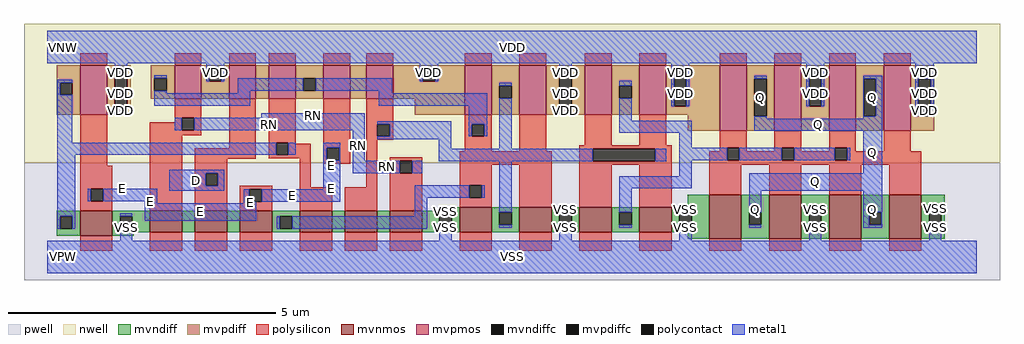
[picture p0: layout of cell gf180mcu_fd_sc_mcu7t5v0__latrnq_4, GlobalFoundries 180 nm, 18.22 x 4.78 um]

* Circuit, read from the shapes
.subckt gf180mcu_fd_sc_mcu7t5v0__latrnq_4 D E RN Q VDD VNW VPW VSS
XM1 VSS E n1 VPW nfet_06v0 w=0.465u l=0.6u
XM2 n2 RN VSS VPW nfet_06v0 w=0.395u l=0.6u
XM3 n3 D n2 VPW nfet_06v0 w=0.395u l=0.6u
XM4 n4 E n3 VPW nfet_06v0 w=0.395u l=0.6u
XM5 n5 n1 n4 VPW nfet_06v0 w=0.395u l=0.6u
XM6 n6 n7 n5 VPW nfet_06v0 w=0.395u l=0.6u
XM7 VSS RN n6 VPW nfet_06v0 w=0.395u l=0.6u
XM8 n7 n4 VSS VPW nfet_06v0 w=0.465u l=0.6u m=2
XM9 n8 n7 VSS VPW nfet_06v0 w=0.465u l=0.6u m=2
XM10 Q n8 VSS VPW nfet_06v0 w=0.82u l=0.6u m=4
XM11 VDD E n1 VNW pfet_06v0 w=0.925u l=0.5u
XM12 VDD RN n4 VNW pfet_06v0 w=0.63u l=0.5u
XM13 n9 D VDD VNW pfet_06v0 w=0.63u l=0.5u
XM14 n4 n1 n9 VNW pfet_06v0 w=0.63u l=0.5u
XM15 n10 E n4 VNW pfet_06v0 w=0.63u l=0.5u
XM16 VDD n7 n10 VNW pfet_06v0 w=0.63u l=0.5u
XM17 n7 n4 VDD VNW pfet_06v0 w=0.925u l=0.5u m=2
XM18 n8 n7 VDD VNW pfet_06v0 w=0.925u l=0.5u m=2
XM19 Q n8 VDD VNW pfet_06v0 w=1.22u l=0.5u m=4
.ends

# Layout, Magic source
magic
tech gf180mcuD
magscale 1 10
<< nwell >>
rect -86 352 3558 870
<< pwell >>
rect -86 -86 3558 352
<< mvnmos >>
rect 124 79 244 172
rect 384 93 504 172
rect 552 93 672 172
rect 720 93 840 172
rect 944 93 1064 172
rect 1112 93 1232 172
rect 1280 93 1400 172
rect 1540 93 1660 186
rect 1764 93 1884 186
rect 1988 93 2108 186
rect 2212 93 2332 186
rect 2472 68 2592 232
rect 2696 68 2816 232
rect 2920 68 3040 232
rect 3144 68 3264 232
<< mvpmos >>
rect 124 531 224 716
rect 476 590 576 716
rect 680 590 780 716
rect 828 590 928 716
rect 1032 590 1132 716
rect 1192 590 1292 716
rect 1560 531 1660 716
rect 1764 531 1864 716
rect 2008 531 2108 716
rect 2212 531 2312 716
rect 2512 472 2612 716
rect 2716 472 2816 716
rect 2920 472 3020 716
rect 3124 472 3224 716
<< mvndiff >>
rect 2392 186 2472 232
rect 1460 172 1540 186
rect 36 152 124 172
rect 36 106 49 152
rect 95 106 124 152
rect 36 79 124 106
rect 244 152 384 172
rect 244 106 273 152
rect 319 106 384 152
rect 244 93 384 106
rect 504 93 552 172
rect 672 93 720 172
rect 840 152 944 172
rect 840 106 869 152
rect 915 106 944 152
rect 840 93 944 106
rect 1064 93 1112 172
rect 1232 93 1280 172
rect 1400 158 1540 172
rect 1400 112 1465 158
rect 1511 112 1540 158
rect 1400 93 1540 112
rect 1660 167 1764 186
rect 1660 121 1689 167
rect 1735 121 1764 167
rect 1660 93 1764 121
rect 1884 167 1988 186
rect 1884 121 1913 167
rect 1959 121 1988 167
rect 1884 93 1988 121
rect 2108 167 2212 186
rect 2108 121 2137 167
rect 2183 121 2212 167
rect 2108 93 2212 121
rect 2332 167 2472 186
rect 2332 121 2361 167
rect 2407 121 2472 167
rect 2332 93 2472 121
rect 244 79 324 93
rect 2392 68 2472 93
rect 2592 167 2696 232
rect 2592 121 2621 167
rect 2667 121 2696 167
rect 2592 68 2696 121
rect 2816 167 2920 232
rect 2816 121 2845 167
rect 2891 121 2920 167
rect 2816 68 2920 121
rect 3040 167 3144 232
rect 3040 121 3069 167
rect 3115 121 3144 167
rect 3040 68 3144 121
rect 3264 167 3352 232
rect 3264 121 3293 167
rect 3339 121 3352 167
rect 3264 68 3352 121
<< mvpdiff >>
rect 36 651 124 716
rect 36 605 49 651
rect 95 605 124 651
rect 36 531 124 605
rect 224 703 312 716
rect 224 563 253 703
rect 299 563 312 703
rect 388 667 476 716
rect 388 621 401 667
rect 447 621 476 667
rect 388 590 476 621
rect 576 703 680 716
rect 576 657 605 703
rect 651 657 680 703
rect 576 590 680 657
rect 780 590 828 716
rect 928 667 1032 716
rect 928 621 957 667
rect 1003 621 1032 667
rect 928 590 1032 621
rect 1132 590 1192 716
rect 1292 703 1560 716
rect 1292 657 1403 703
rect 1449 657 1560 703
rect 1292 590 1560 657
rect 224 531 312 563
rect 1372 531 1560 590
rect 1660 639 1764 716
rect 1660 593 1689 639
rect 1735 593 1764 639
rect 1660 531 1764 593
rect 1864 703 2008 716
rect 1864 563 1913 703
rect 1959 563 2008 703
rect 1864 531 2008 563
rect 2108 639 2212 716
rect 2108 593 2137 639
rect 2183 593 2212 639
rect 2108 531 2212 593
rect 2312 703 2512 716
rect 2312 563 2341 703
rect 2387 563 2512 703
rect 2312 531 2512 563
rect 2392 472 2512 531
rect 2612 665 2716 716
rect 2612 525 2641 665
rect 2687 525 2716 665
rect 2612 472 2716 525
rect 2816 703 2920 716
rect 2816 563 2845 703
rect 2891 563 2920 703
rect 2816 472 2920 563
rect 3020 665 3124 716
rect 3020 525 3049 665
rect 3095 525 3124 665
rect 3020 472 3124 525
rect 3224 665 3312 716
rect 3224 525 3253 665
rect 3299 525 3312 665
rect 3224 472 3312 525
<< mvndiffc >>
rect 49 106 95 152
rect 273 106 319 152
rect 869 106 915 152
rect 1465 112 1511 158
rect 1689 121 1735 167
rect 1913 121 1959 167
rect 2137 121 2183 167
rect 2361 121 2407 167
rect 2621 121 2667 167
rect 2845 121 2891 167
rect 3069 121 3115 167
rect 3293 121 3339 167
<< mvpdiffc >>
rect 49 605 95 651
rect 253 563 299 703
rect 401 621 447 667
rect 605 657 651 703
rect 957 621 1003 667
rect 1403 657 1449 703
rect 1689 593 1735 639
rect 1913 563 1959 703
rect 2137 593 2183 639
rect 2341 563 2387 703
rect 2641 525 2687 665
rect 2845 563 2891 703
rect 3049 525 3095 665
rect 3253 525 3299 665
<< polysilicon >>
rect 124 716 224 760
rect 476 716 576 760
rect 680 716 780 760
rect 828 716 928 760
rect 1032 716 1132 760
rect 1192 716 1292 760
rect 1560 716 1660 760
rect 1764 716 1864 760
rect 2008 716 2108 760
rect 2212 716 2312 760
rect 2512 716 2612 760
rect 2716 716 2816 760
rect 2920 716 3020 760
rect 3124 716 3224 760
rect 124 340 224 531
rect 476 519 576 590
rect 476 504 503 519
rect 384 473 503 504
rect 549 473 576 519
rect 384 454 576 473
rect 124 255 244 340
rect 124 209 163 255
rect 209 209 244 255
rect 124 172 244 209
rect 384 172 504 454
rect 680 406 780 590
rect 552 366 780 406
rect 828 427 928 590
rect 828 381 855 427
rect 901 423 928 427
rect 901 381 984 423
rect 828 368 984 381
rect 552 312 672 366
rect 552 266 592 312
rect 638 266 672 312
rect 552 172 672 266
rect 720 253 840 266
rect 720 207 755 253
rect 801 207 840 253
rect 720 172 840 207
rect 944 260 984 368
rect 1032 408 1132 590
rect 1032 362 1045 408
rect 1091 362 1132 408
rect 1032 349 1132 362
rect 1192 496 1292 590
rect 1192 450 1233 496
rect 1279 450 1292 496
rect 1192 437 1292 450
rect 1560 496 1660 531
rect 1560 450 1586 496
rect 1632 450 1660 496
rect 1192 260 1232 437
rect 1560 394 1660 450
rect 1764 394 1864 531
rect 2008 417 2108 531
rect 2212 417 2312 531
rect 1988 404 2332 417
rect 944 172 1064 260
rect 1112 172 1232 260
rect 1280 359 1400 372
rect 1280 313 1317 359
rect 1363 313 1400 359
rect 1280 172 1400 313
rect 1540 344 1884 394
rect 1540 267 1660 344
rect 1540 221 1577 267
rect 1623 221 1660 267
rect 1540 186 1660 221
rect 1764 186 1884 344
rect 1988 358 2037 404
rect 2271 358 2332 404
rect 2512 407 2612 472
rect 2512 394 2539 407
rect 1988 344 2332 358
rect 1988 186 2108 344
rect 2212 186 2332 344
rect 2472 361 2539 394
rect 2585 394 2612 407
rect 2716 407 2816 472
rect 2716 394 2743 407
rect 2585 361 2743 394
rect 2789 394 2816 407
rect 2920 407 3020 472
rect 2920 394 2941 407
rect 2789 361 2941 394
rect 2987 394 3020 407
rect 3124 394 3224 472
rect 2987 361 3264 394
rect 2472 344 3264 361
rect 2472 232 2592 344
rect 2696 232 2816 344
rect 2920 232 3040 344
rect 3144 232 3264 344
rect 124 24 244 79
rect 384 24 504 93
rect 552 24 672 93
rect 720 24 840 93
rect 944 24 1064 93
rect 1112 24 1232 93
rect 1280 24 1400 93
rect 1540 24 1660 93
rect 1764 24 1884 93
rect 1988 24 2108 93
rect 2212 24 2332 93
rect 2472 24 2592 68
rect 2696 24 2816 68
rect 2920 24 3040 68
rect 3144 24 3264 68
<< polycontact >>
rect 503 473 549 519
rect 163 209 209 255
rect 855 381 901 427
rect 592 266 638 312
rect 755 207 801 253
rect 1045 362 1091 408
rect 1233 450 1279 496
rect 1586 450 1632 496
rect 1317 313 1363 359
rect 1577 221 1623 267
rect 2037 358 2271 404
rect 2539 361 2585 407
rect 2743 361 2789 407
rect 2941 361 2987 407
<< metal1 >>
rect 0 724 3472 844
rect 253 703 299 724
rect 38 651 95 662
rect 38 605 49 651
rect 38 427 95 605
rect 594 703 662 724
rect 401 667 447 678
rect 594 657 605 703
rect 651 657 662 703
rect 1392 703 1460 724
rect 401 611 447 621
rect 712 621 957 667
rect 1003 621 1289 667
rect 1392 657 1403 703
rect 1449 657 1460 703
rect 1913 703 1959 724
rect 712 611 758 621
rect 401 565 758 611
rect 1239 611 1289 621
rect 1689 639 1735 650
rect 1239 565 1643 611
rect 253 531 299 563
rect 800 519 1187 536
rect 476 473 503 519
rect 549 473 1187 519
rect 38 381 855 427
rect 901 381 928 427
rect 1032 408 1095 427
rect 38 152 106 381
rect 1032 362 1045 408
rect 1091 362 1095 408
rect 457 312 662 326
rect 457 266 592 312
rect 638 266 662 312
rect 152 209 163 255
rect 209 209 411 255
rect 457 248 662 266
rect 1032 253 1095 362
rect 1141 359 1187 473
rect 1233 496 1509 507
rect 1279 450 1509 496
rect 1575 496 1643 565
rect 1575 450 1586 496
rect 1632 450 1643 496
rect 1233 439 1509 450
rect 1463 404 1509 439
rect 1689 404 1735 593
rect 2330 703 2398 724
rect 1913 531 1959 563
rect 2137 639 2183 658
rect 2137 509 2183 593
rect 2330 563 2341 703
rect 2387 563 2398 703
rect 2834 703 2902 724
rect 2641 665 2687 676
rect 2834 563 2845 703
rect 2891 563 2902 703
rect 3048 665 3118 676
rect 2641 517 2687 525
rect 3048 525 3049 665
rect 3095 525 3118 665
rect 3242 665 3310 724
rect 3242 525 3253 665
rect 3299 525 3310 665
rect 3048 517 3118 525
rect 2137 463 2407 509
rect 2641 471 3118 517
rect 2361 407 2407 463
rect 1141 313 1317 359
rect 1363 313 1400 359
rect 1463 358 2037 404
rect 2271 358 2312 404
rect 2361 361 2539 407
rect 2585 361 2743 407
rect 2789 361 2941 407
rect 2987 361 2998 407
rect 365 200 411 209
rect 735 207 755 253
rect 801 207 1095 253
rect 1373 221 1577 267
rect 1623 221 1634 267
rect 735 200 781 207
rect 38 106 49 152
rect 95 106 106 152
rect 273 152 319 163
rect 365 136 781 200
rect 1373 152 1419 221
rect 858 106 869 152
rect 915 106 1419 152
rect 1465 158 1511 175
rect 273 60 319 106
rect 1465 60 1511 112
rect 1689 167 1735 358
rect 2361 302 2407 361
rect 3048 312 3118 471
rect 2137 256 2407 302
rect 1689 110 1735 121
rect 1913 167 1959 178
rect 1913 60 1959 121
rect 2137 167 2183 256
rect 2621 248 3118 312
rect 2137 110 2183 121
rect 2361 167 2407 178
rect 2361 60 2407 121
rect 2621 167 2667 248
rect 2621 110 2667 121
rect 2845 167 2891 178
rect 2845 60 2891 121
rect 3048 167 3118 248
rect 3048 121 3069 167
rect 3115 121 3118 167
rect 3048 110 3118 121
rect 3293 167 3339 186
rect 3293 60 3339 121
rect 0 -60 3472 60
<< labels >>
flabel metal1 s 3048 517 3118 676 0 FreeSans 400 0 0 0 Q
port 4 nsew default output
flabel metal1 s 800 519 1187 536 0 FreeSans 400 0 0 0 RN
port 3 nsew default input
flabel metal1 s 0 724 3472 844 0 FreeSans 400 0 0 0 VDD
port 5 nsew power bidirectional abutment
flabel metal1 s 3293 178 3339 186 0 FreeSans 400 0 0 0 VSS
port 8 nsew ground bidirectional abutment
flabel metal1 s 457 248 662 326 0 FreeSans 400 0 0 0 D
port 1 nsew default input
flabel metal1 s 1032 255 1095 427 0 FreeSans 400 0 0 0 E
port 2 nsew clock input
flabel nwell s 10 734 110 834 0 FreeSans 400 0 0 0 VNW
port 6 nsew power bidirectional
flabel pwell s 10 -50 110 50 0 FreeSans 400 0 0 0 VPW
port 7 nsew ground bidirectional
rlabel metal1 s 1032 253 1095 255 1 E
port 2 nsew clock input
rlabel metal1 s 152 253 411 255 1 E
port 2 nsew clock input
rlabel metal1 s 735 209 1095 253 1 E
port 2 nsew clock input
rlabel metal1 s 152 209 411 253 1 E
port 2 nsew clock input
rlabel metal1 s 735 207 1095 209 1 E
port 2 nsew clock input
rlabel metal1 s 365 207 411 209 1 E
port 2 nsew clock input
rlabel metal1 s 735 200 781 207 1 E
port 2 nsew clock input
rlabel metal1 s 365 200 411 207 1 E
port 2 nsew clock input
rlabel metal1 s 365 136 781 200 1 E
port 2 nsew clock input
rlabel metal1 s 476 473 1187 519 1 RN
port 3 nsew default input
rlabel metal1 s 1141 359 1187 473 1 RN
port 3 nsew default input
rlabel metal1 s 1141 313 1400 359 1 RN
port 3 nsew default input
rlabel metal1 s 2641 517 2687 676 1 Q
port 4 nsew default output
rlabel metal1 s 2641 471 3118 517 1 Q
port 4 nsew default output
rlabel metal1 s 3048 312 3118 471 1 Q
port 4 nsew default output
rlabel metal1 s 2621 248 3118 312 1 Q
port 4 nsew default output
rlabel metal1 s 3048 110 3118 248 1 Q
port 4 nsew default output
rlabel metal1 s 2621 110 2667 248 1 Q
port 4 nsew default output
rlabel metal1 s 3242 657 3310 724 1 VDD
port 5 nsew power bidirectional abutment
rlabel metal1 s 2834 657 2902 724 1 VDD
port 5 nsew power bidirectional abutment
rlabel metal1 s 2330 657 2398 724 1 VDD
port 5 nsew power bidirectional abutment
rlabel metal1 s 1913 657 1959 724 1 VDD
port 5 nsew power bidirectional abutment
rlabel metal1 s 1392 657 1460 724 1 VDD
port 5 nsew power bidirectional abutment
rlabel metal1 s 594 657 662 724 1 VDD
port 5 nsew power bidirectional abutment
rlabel metal1 s 253 657 299 724 1 VDD
port 5 nsew power bidirectional abutment
rlabel metal1 s 3242 563 3310 657 1 VDD
port 5 nsew power bidirectional abutment
rlabel metal1 s 2834 563 2902 657 1 VDD
port 5 nsew power bidirectional abutment
rlabel metal1 s 2330 563 2398 657 1 VDD
port 5 nsew power bidirectional abutment
rlabel metal1 s 1913 563 1959 657 1 VDD
port 5 nsew power bidirectional abutment
rlabel metal1 s 253 563 299 657 1 VDD
port 5 nsew power bidirectional abutment
rlabel metal1 s 3242 531 3310 563 1 VDD
port 5 nsew power bidirectional abutment
rlabel metal1 s 1913 531 1959 563 1 VDD
port 5 nsew power bidirectional abutment
rlabel metal1 s 253 531 299 563 1 VDD
port 5 nsew power bidirectional abutment
rlabel metal1 s 3242 525 3310 531 1 VDD
port 5 nsew power bidirectional abutment
rlabel metal1 s 3293 175 3339 178 1 VSS
port 8 nsew ground bidirectional abutment
rlabel metal1 s 2845 175 2891 178 1 VSS
port 8 nsew ground bidirectional abutment
rlabel metal1 s 2361 175 2407 178 1 VSS
port 8 nsew ground bidirectional abutment
rlabel metal1 s 1913 175 1959 178 1 VSS
port 8 nsew ground bidirectional abutment
rlabel metal1 s 3293 163 3339 175 1 VSS
port 8 nsew ground bidirectional abutment
rlabel metal1 s 2845 163 2891 175 1 VSS
port 8 nsew ground bidirectional abutment
rlabel metal1 s 2361 163 2407 175 1 VSS
port 8 nsew ground bidirectional abutment
rlabel metal1 s 1913 163 1959 175 1 VSS
port 8 nsew ground bidirectional abutment
rlabel metal1 s 1465 163 1511 175 1 VSS
port 8 nsew ground bidirectional abutment
rlabel metal1 s 3293 60 3339 163 1 VSS
port 8 nsew ground bidirectional abutment
rlabel metal1 s 2845 60 2891 163 1 VSS
port 8 nsew ground bidirectional abutment
rlabel metal1 s 2361 60 2407 163 1 VSS
port 8 nsew ground bidirectional abutment
rlabel metal1 s 1913 60 1959 163 1 VSS
port 8 nsew ground bidirectional abutment
rlabel metal1 s 1465 60 1511 163 1 VSS
port 8 nsew ground bidirectional abutment
rlabel metal1 s 273 60 319 163 1 VSS
port 8 nsew ground bidirectional abutment
rlabel metal1 s 0 -60 3472 60 1 VSS
port 8 nsew ground bidirectional abutment
<< properties >>
string FIXED_BBOX 0 0 3472 784
string GDS_END 618618
string GDS_FILE $PDKPATH/libs.ref/gf180mcu_fd_sc_mcu7t5v0/gds/gf180mcu_fd_sc_mcu7t5v0.gds
string GDS_START 610938
string LEFclass core
string LEFsite GF018hv5v_mcu_sc7
string LEFsymmetry X Y
<< end >>
